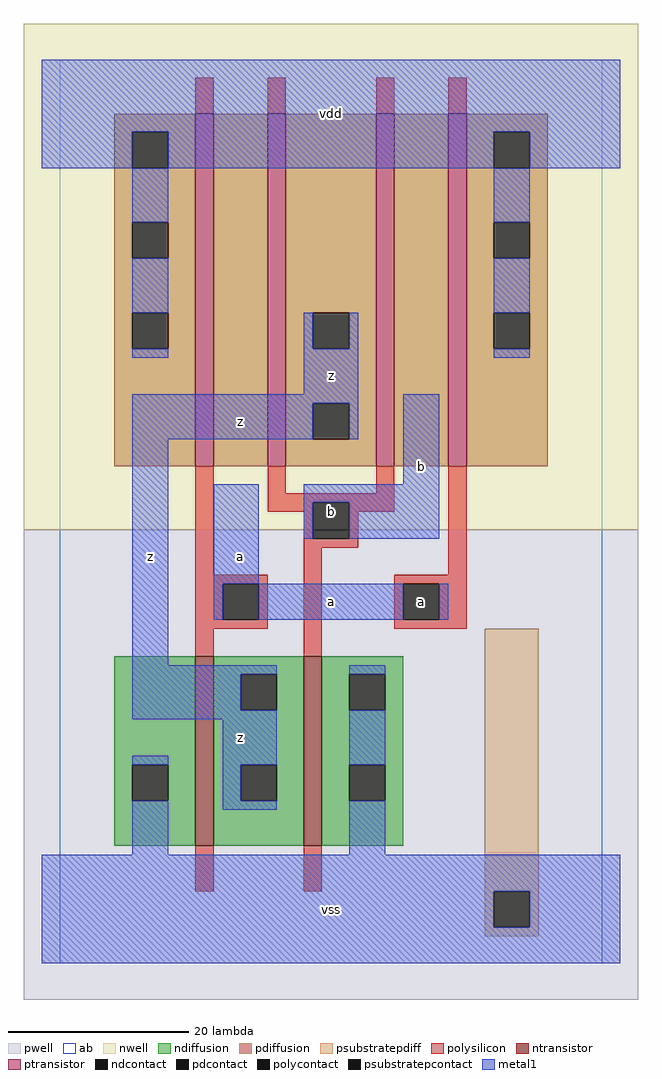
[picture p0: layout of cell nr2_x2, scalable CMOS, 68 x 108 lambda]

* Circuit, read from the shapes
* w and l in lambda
.subckt nr2_x2 a b vdd vss z
M1 z a vss vss nfet w=21 l=2
M2 vss b z vss nfet w=21 l=2
M3 n1 a vdd n2 pfet w=39 l=2
M4 z b n1 n2 pfet w=39 l=2
M5 n3 b z n2 pfet w=39 l=2
M6 vdd a n3 n2 pfet w=39 l=2
.ends

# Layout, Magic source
magic
tech scmos
<< ab >>
rect 0 0 60 100
<< pwell >>
rect -4 -4 64 48
<< nwell >>
rect -4 48 64 104
<< polysilicon >>
rect 15 94 17 98
rect 23 94 25 98
rect 35 94 37 98
rect 43 94 45 98
rect 15 43 17 55
rect 23 52 25 55
rect 35 52 37 55
rect 23 51 37 52
rect 23 50 28 51
rect 27 47 28 50
rect 32 50 37 51
rect 32 47 33 50
rect 27 46 33 47
rect 15 42 23 43
rect 15 38 18 42
rect 22 38 23 42
rect 15 37 23 38
rect 15 34 17 37
rect 27 34 29 46
rect 43 43 45 55
rect 37 42 45 43
rect 37 38 38 42
rect 42 38 45 42
rect 37 37 45 38
rect 15 8 17 13
rect 27 8 29 13
<< ndiffusion >>
rect 6 22 15 34
rect 6 18 8 22
rect 12 18 15 22
rect 6 13 15 18
rect 17 32 27 34
rect 17 28 20 32
rect 24 28 27 32
rect 17 22 27 28
rect 17 18 20 22
rect 24 18 27 22
rect 17 13 27 18
rect 29 32 38 34
rect 29 28 32 32
rect 36 28 38 32
rect 29 22 38 28
rect 29 18 32 22
rect 36 18 38 22
rect 29 13 38 18
<< pdiffusion >>
rect 6 92 15 94
rect 6 88 8 92
rect 12 88 15 92
rect 6 82 15 88
rect 6 78 8 82
rect 12 78 15 82
rect 6 72 15 78
rect 6 68 8 72
rect 12 68 15 72
rect 6 55 15 68
rect 17 55 23 94
rect 25 72 35 94
rect 25 68 28 72
rect 32 68 35 72
rect 25 62 35 68
rect 25 58 28 62
rect 32 58 35 62
rect 25 55 35 58
rect 37 55 43 94
rect 45 92 54 94
rect 45 88 48 92
rect 52 88 54 92
rect 45 82 54 88
rect 45 78 48 82
rect 52 78 54 82
rect 45 72 54 78
rect 45 68 48 72
rect 52 68 54 72
rect 45 55 54 68
<< metal1 >>
rect -2 92 62 100
rect -2 88 8 92
rect 12 88 48 92
rect 52 88 62 92
rect 8 82 12 88
rect 8 72 12 78
rect 48 82 52 88
rect 48 72 52 78
rect 8 67 12 68
rect 27 68 28 72
rect 32 68 33 72
rect 27 63 33 68
rect 48 67 52 68
rect 8 62 33 63
rect 8 58 28 62
rect 32 58 33 62
rect 8 33 12 58
rect 38 53 42 63
rect 17 42 22 53
rect 27 51 42 53
rect 27 47 28 51
rect 32 47 42 51
rect 17 38 18 42
rect 22 38 38 42
rect 42 38 43 42
rect 8 32 24 33
rect 8 28 20 32
rect 8 27 24 28
rect 8 22 12 23
rect 8 12 12 18
rect 18 22 24 27
rect 18 18 20 22
rect 18 17 24 18
rect 32 32 36 33
rect 32 22 36 28
rect 32 12 36 18
rect -2 8 62 12
rect -2 4 48 8
rect 52 4 62 8
rect -2 0 62 4
<< ntransistor >>
rect 15 13 17 34
rect 27 13 29 34
<< ptransistor >>
rect 15 55 17 94
rect 23 55 25 94
rect 35 55 37 94
rect 43 55 45 94
<< polycontact >>
rect 28 47 32 51
rect 18 38 22 42
rect 38 38 42 42
<< ndcontact >>
rect 8 18 12 22
rect 20 28 24 32
rect 20 18 24 22
rect 32 28 36 32
rect 32 18 36 22
<< pdcontact >>
rect 8 88 12 92
rect 8 78 12 82
rect 8 68 12 72
rect 28 68 32 72
rect 28 58 32 62
rect 48 88 52 92
rect 48 78 52 82
rect 48 68 52 72
<< psubstratepcontact >>
rect 48 4 52 8
<< psubstratepdiff >>
rect 47 8 53 37
rect 47 4 48 8
rect 52 4 53 8
rect 47 3 53 4
<< labels >>
rlabel metal1 10 45 10 45 6 z
rlabel metal1 20 25 20 25 6 z
rlabel metal1 20 45 20 45 6 a
rlabel metal1 20 60 20 60 6 z
rlabel metal1 30 6 30 6 6 vss
rlabel metal1 30 40 30 40 6 a
rlabel polycontact 40 40 40 40 6 a
rlabel polycontact 30 50 30 50 6 b
rlabel metal1 30 65 30 65 6 z
rlabel metal1 40 55 40 55 6 b
rlabel metal1 30 94 30 94 6 vdd
<< end >>
